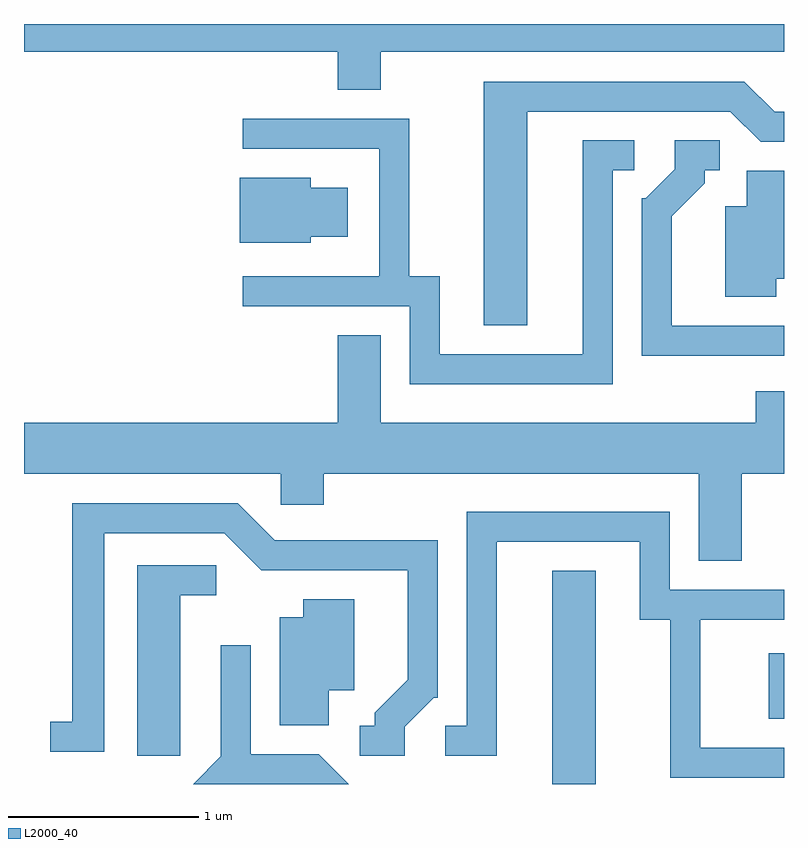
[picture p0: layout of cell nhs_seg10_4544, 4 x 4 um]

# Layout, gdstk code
import gdstk
lib = gdstk.Library(unit=1e-6, precision=1e-09)
def R(c, l, rs):  # rectangles x0, y0, x1, y1
    for r in rs: c.add(gdstk.rectangle(r[:2], r[2:], *l))
def P(c, l, *ps):  # polygons
    for p in ps: c.add(gdstk.Polygon(p, *l))
L2000_40 = (2000, 40)

nhs_seg10_4544 = lib.new_cell('nhs_seg10_4544')
R(nhs_seg10_4544, L2000_40, [(322.391,2094.522,322.619,2095.644), (323.531,2094.866,323.611,2095.209)])
P(nhs_seg10_4544, L2000_40, [(321.489,2098.376),(323.611,2098.376),(323.611,2098.522),(319.611,2098.522),(319.611,2098.376),(321.261,2098.376),(321.261,2098.176),(321.489,2098.176)],
  [(322.259,2098.061),(323.329,2098.061),(323.489,2097.901),(323.611,2097.901),(323.611,2098.059),(323.562,2098.059),(323.402,2098.219),(322.031,2098.219),(322.031,2096.936),(322.259,2096.936)],
  [(322.709,2097.751),(322.823,2097.751),(322.823,2097.909),(322.551,2097.909),(322.551,2096.784),(321.799,2096.784),(321.799,2097.194),(321.639,2097.194),(321.639,2098.024),(320.763,2098.024),(320.763,2097.866),(321.481,2097.866),(321.481,2097.194),(320.763,2097.194),(320.763,2097.036),(321.641,2097.036),(321.641,2096.626),(322.709,2096.626)],
  [(323.611,2096.934),(323.019,2096.934),(323.019,2097.509),(323.194,2097.684),(323.194,2097.751),(323.273,2097.751),(323.273,2097.909),(323.036,2097.909),(323.036,2097.757),(322.884,2097.604),(322.861,2097.604),(322.861,2096.776),(323.611,2096.776)],
  [(323.569,2097.181),(323.611,2097.181),(323.611,2097.749),(323.416,2097.749),(323.416,2097.564),(323.301,2097.564),(323.301,2097.086),(323.569,2097.086)],
  [(321.119,2097.401),(321.314,2097.401),(321.314,2097.659),(321.119,2097.659),(321.119,2097.714),(320.746,2097.714),(320.746,2097.371),(321.119,2097.371)],
  [(323.389,2096.156),(323.611,2096.156),(323.611,2096.589),(323.461,2096.589),(323.461,2096.424),(321.489,2096.424),(321.489,2096.884),(321.261,2096.884),(321.261,2096.424),(319.611,2096.424),(319.611,2096.156),(320.961,2096.156),(320.961,2095.991),(321.189,2095.991),(321.189,2096.156),(323.161,2096.156),(323.161,2095.696),(323.389,2095.696)],
  [(321.614,2094.824),(321.767,2094.976),(321.789,2094.976),(321.789,2095.804),(320.932,2095.804),(320.737,2095.999),(319.866,2095.999),(319.866,2094.849),(319.748,2094.849),(319.748,2094.691),(320.034,2094.691),(320.034,2095.841),(320.664,2095.841),(320.859,2095.646),(321.631,2095.646),(321.631,2095.072),(321.456,2094.896),(321.456,2094.829),(321.378,2094.829),(321.378,2094.671),(321.614,2094.671)],
  [(323.611,2094.714),(323.169,2094.714),(323.169,2095.386),(323.611,2095.386),(323.611,2095.544),(323.009,2095.544),(323.009,2095.954),(321.941,2095.954),(321.941,2094.829),(321.828,2094.829),(321.828,2094.671),(322.099,2094.671),(322.099,2095.796),(322.851,2095.796),(322.851,2095.386),(323.011,2095.386),(323.011,2094.556),(323.611,2094.556)],
  [(320.434,2095.516),(320.623,2095.516),(320.623,2095.674),(320.206,2095.674),(320.206,2094.671),(320.434,2094.671)],
  [(321.214,2095.016),(321.349,2095.016),(321.349,2095.494),(321.081,2095.494),(321.081,2095.399),(320.956,2095.399),(320.956,2094.831),(321.214,2094.831)],
  [(321.162,2094.679),(320.804,2094.679),(320.804,2095.253),(320.646,2095.253),(320.646,2094.667),(320.502,2094.522),(321.319,2094.522)])

lib.write_gds('nhs_seg10_4544.gds')
